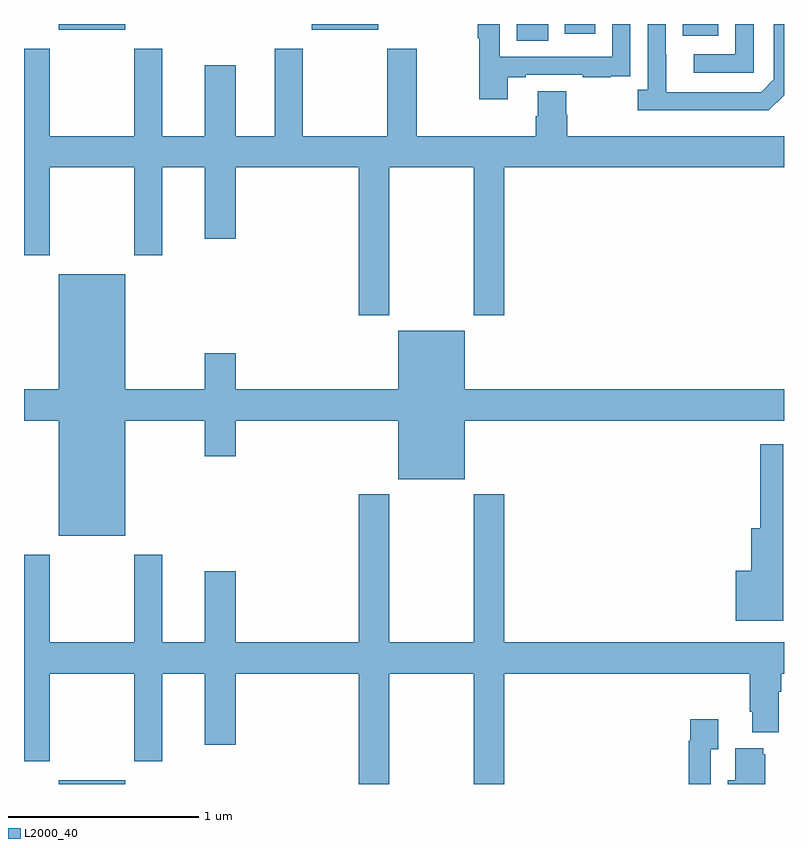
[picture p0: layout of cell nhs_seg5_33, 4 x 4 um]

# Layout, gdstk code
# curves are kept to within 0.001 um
import gdstk
lib = gdstk.Library(unit=1e-6, precision=1e-09)
def R(c, l, rs):  # rectangles x0, y0, x1, y1
    for r in rs: c.add(gdstk.rectangle(r[:2], r[2:], *l))
def P(c, l, *ps):  # polygons
    for p in ps: c.add(gdstk.Polygon(p, *l))
L2000_40 = (2000, 40)

nhs_seg5_33 = lib.new_cell('nhs_seg5_33')
R(nhs_seg5_33, L2000_40, [(111.182,902.799,111.532,902.818), (113.594,906.712,113.758,906.799), (114.467,906.737,114.655,906.799), (113.846,906.747,114.007,906.799), (111.182,906.77,111.532,906.799), (112.514,906.77,112.864,906.799)])
P(nhs_seg5_33, L2000_40, [(114.84,906.799),(114.744,906.799),(114.744,906.639),(114.525,906.639),(114.525,906.543),(114.84,906.543)],
  [(113.545,906.519),(113.641,906.519),(113.641,906.531),(113.941,906.531),(113.941,906.519),(114.089,906.519),(114.089,906.525),(114.191,906.525),(114.191,906.634),(114.192,906.634),(114.192,906.799),(114.096,906.799),(114.096,906.627),(113.505,906.627),(113.505,906.799),(113.389,906.799),(113.389,906.724),(113.397,906.724),(113.397,906.402),(113.545,906.402)],
  [(115,906.424),(115,906.799),(114.945,906.799),(114.945,906.507),(114.879,906.441),(114.379,906.441),(114.378,906.799),(114.282,906.799),(114.282,906.454),(114.231,906.454),(114.231,906.344),(114.92,906.344)],
  [(112.923,906.044),(113.368,906.044),(113.368,905.265),(113.528,905.265),(113.528,906.044),(115,906.044),(115,906.208),(113.858,906.208),(113.858,906.321),(113.853,906.321),(113.853,906.446),(113.705,906.446),(113.705,906.314),(113.693,906.314),(113.693,906.208),(113.067,906.208),(113.067,906.67),(112.912,906.67),(112.912,906.208),(112.467,906.208),(112.467,906.67),(112.319,906.67),(112.319,906.208),(112.114,906.208),(112.114,906.583),(111.95,906.583),(111.95,906.208),(111.727,906.208),(111.727,906.67),(111.58,906.67),(111.58,906.208),(111.135,906.208),(111.135,906.67),(111,906.67),(111,905.583),(111.135,905.583),(111.135,906.044),(111.58,906.044),(111.58,905.583),(111.727,905.583),(111.727,906.044),(111.95,906.044),(111.95,905.67),(112.114,905.67),(112.114,906.044),(112.763,906.044),(112.763,905.265),(112.923,905.265)],
  [(111.532,904.712),(111.95,904.712),(111.95,904.524),(112.114,904.524),(112.114,904.712),(112.97,904.712),(112.97,904.403),(113.32,904.403),(113.32,904.712),(115,904.712),(115,904.876),(113.32,904.876),(113.32,905.185),(112.97,905.185),(112.97,904.876),(112.114,904.876),(112.114,905.065),(111.95,905.065),(111.95,904.876),(111.532,904.876),(111.532,905.482),(111.182,905.482),(111.182,904.876),(111,904.876),(111,904.712),(111.182,904.712),(111.182,904.106),(111.532,904.106)],
  [(114.997,904.588),(114.876,904.588),(114.876,904.144),(114.827,904.144),(114.827,903.922),(114.746,903.922),(114.746,903.659),(114.997,903.659)],
  [(112.923,903.38),(113.368,903.38),(113.368,902.799),(113.528,902.799),(113.528,903.38),(114.821,903.38),(114.821,903.178),(114.833,903.178),(114.833,903.071),(114.973,903.071),(114.973,903.284),(114.986,903.284),(114.986,903.38),(115,903.38),(115,903.544),(113.528,903.544),(113.528,904.324),(113.368,904.324),(113.368,903.544),(112.923,903.544),(112.923,904.324),(112.763,904.324),(112.763,903.544),(112.114,903.544),(112.114,903.919),(111.95,903.919),(111.95,903.544),(111.727,903.544),(111.727,904.006),(111.58,904.006),(111.58,903.544),(111.135,903.544),(111.135,904.006),(111,904.006),(111,902.919),(111.135,902.919),(111.135,903.38),(111.58,903.38),(111.58,902.919),(111.727,902.919),(111.727,903.38),(111.95,903.38),(111.95,903.006),(112.114,903.006),(112.114,903.38),(112.763,903.38),(112.763,902.799),(112.923,902.799)],
  [(114.615,902.983),(114.655,902.983),(114.655,903.139),(114.507,903.139),(114.507,903.026),(114.499,903.026),(114.499,902.799),(114.615,902.799)],
  [(114.901,902.955),(114.89,902.955),(114.89,902.986),(114.743,902.986),(114.743,902.818),(114.704,902.818),(114.704,902.799),(114.901,902.799)])

lib.write_gds('nhs_seg5_33.gds')
